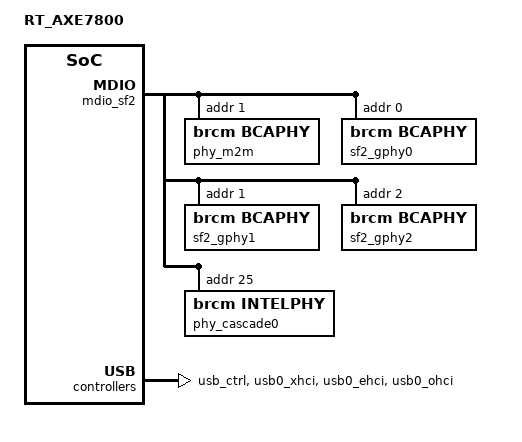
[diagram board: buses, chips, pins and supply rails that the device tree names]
#include "6756.dtsi"
#include "../bcm_voice.dtsi"

/ {
    model = "RT_AXE7800";
	memory_controller {
		memcfg = <(BP_DDR_TYPE_DDR4		| \
			/* CUSTOM speed 1026MHz */
			BP_DDR_SPEED_CUSTOM_1		| \
			BP_DDR_TOTAL_SIZE_512MB		| \
			BP_DDR_DEVICE_WIDTH_16		| \
			BP_DDR_TOTAL_WIDTH_16BIT	| \
			BP_DDR_TEMP_EXTENDED_ASR	| \
			BP_DDR_6756_DEFAULT)>;
	};
#if 0
	buttons {
		compatible = "brcm,buttons";
		reset_button {
			ext_irq = <&bca_extintr 9 BCA_GPIO_ACTIVE_LOW (BCA_EXTINTR_TYPE_LOW_LEVEL | BCA_EXTINTR_TYPE_SENSE_EDGE)>;
			press {
				print = "Button Press -- Hold for 5s to do restore to default";
			};
			hold {
				rst_to_dflt = <5>;
			};
			release {
				reset = <0>;
			};	
		};
		ses_button {
			ext_irq = <&bca_extintr 4 BCA_GPIO_ACTIVE_LOW (BCA_EXTINTR_TYPE_LOW_LEVEL | BCA_EXTINTR_TYPE_SENSE_EDGE)>;
			release {
				ses_short_period = <0>;
				ses_long_period = <3>;
			};
		};
	};
#endif
	switch_sf2_ext:0 {
	};

};

&sysport {
    ethsw_ext = <&switch_sf2_ext>;
};

&mdio_sf2 {
	phy_ge:8 {
		status = "okay";
	};

	phy_m2m:m2m {
		compatible = "brcm,bcaphy";
		phy-type = "MAC2MAC";
		reg = <1>;
		status = "okay";
		phy-extswitch;
	};

	/* PHYs on external SF2 switch */
	sf2_gphy0:0 {
		compatible = "brcm,bcaphy";
		phy-type = "EGPHY";
		reg = <0>;
		status = "okay";
	};
	sf2_gphy1:1 {
		compatible = "brcm,bcaphy";
		phy-type = "EGPHY";
		reg = <1>;
		status = "okay";
	};
	sf2_gphy2:2 {
		compatible = "brcm,bcaphy";
		phy-type = "EGPHY";
		reg = <2>;
		status = "okay";
	};

	phy_cascade0:cascade0 {
		compatible = "brcm,intelphy";
		phy-type = "GPY211";
		reg = <25>;
		status = "okay";
		phy-external;
	};
	phy_serdes0:serdes0 {
		phy-handle = <&phy_cascade0>;
		status = "okay";
	};
};

&switch_sf2_ext {				/* linux/uboot: external sf2 */
	unit = <1>;
	sw-type = "SF2_SW";

	compatible = "brcm,bcmbca-extsw";
	reg-names ="parent-rgmii-ctrl",
	           "parent-gpio-pad-ctrl";
	reg = <0x804800ec 0x44>,
	      <0xff800500 0x78>;
	switch-reset = <&gpioc 10 GPIO_ACTIVE_LOW>;

	ports {
		#address-cells = <1>;
		#size-cells = <0>;

		sf2_port0@0 {
			phy-handle = <&sf2_gphy0>;
			reg = <0>;
			mac-type = "SF2MAC";
			phy-mode = "gmii";
			gmii-direct;
			status = "okay";
		};
		sf2_port1@1 {
			phy-handle = <&sf2_gphy1>;
			reg = <1>;
			mac-type = "SF2MAC";
			phy-mode = "gmii";
			gmii-direct;
			status = "okay";
		};
		sf2_port2@2 {
			phy-handle = <&sf2_gphy2>;
			reg = <2>;
			mac-type = "SF2MAC";
			phy-mode = "gmii";
			gmii-direct;
			status = "okay";
		};
		sf2_port8@8 {
			management;		/* sf2_ext.p8 <--> root.p1 */
			reg = <8>;
			mac-type = "SF2MAC";
			shrink-ipg;
			phy-mode = "gmii";
			gmii-direct;
			status = "okay";
		};
	};
};

&switch0 {					/* linux/uboot: internal sf2 */
	pinctrl-names = "default", "rgmii"; 
	pinctrl-0 = <&a_rgmii_mdc_pin_68 &a_rgmii_mdio_pin_69 &rgmii_pins>; 
	pinctrl-1 = <&rgmii_pins>; 

	ports {
		port0@0 {
			phy-handle = <&phy_ge>;
			status = "okay";
			network-leds = <&led0>;
			label = "eth1";
		};
		port1@1 {
			phy-handle = <&phy_m2m>;
			mii-pinctrl-state = "rgmii";
			phy-mode = "rgmii";
			rgmii-3p3v;
			rx-delay;
			tx-delay;
			link = <&switch_sf2_ext>;	/* root.p1 <--> sf2_ext.p8 */
			shrink-ipg;
			status = "okay";
		};
		port5@5 {
			phy-handle = <&phy_serdes0>;
			status = "okay";
			label = "eth0";
		};
	};
};

&usb_ctrl {
	pinctrl-names="default";
	pinctrl-0 = <&usb0_pwr_pins>;
	pwron-bias-pull-up;
	status = "okay";
	xhci-enable;
};

&usb0_xhci {
	status = "okay";
};

&usb0_ehci {
	status = "okay";
};

&usb0_ohci {
	status = "okay";
};

&legacy_leds {
	wl0-led = <&led5>;
	wl1-led = <&led4>;
};

&led_ctrl {
	/* P4_LINKACT */
	led0:port_0-led-1 {
		active_low;
		link = <LED_SPEED_GBE>;
		activity = <LED_SPEED_GBE>;
		pinctrl-0=<&a_per_led_03_pin_3>;
		status = "okay";
	};

	/* P4_LINKACT_GPIO */
	led1:led_gpio_3 {
		compatible = "brcm,gpio-led";
		software_led;
		pin = <3>;
		active_low;
	};

	/* P4_LINKACT_R */
	led2:led_gpio_5 {
		compatible = "brcm,gpio-led";
		software_led;
		pin = <5>;
		active_low;
	};

	/* P5_LINKACT_R */
	led3:led_gpio_31 {
		compatible = "brcm,gpio-led";
		software_led;
		pin = <31>;
		active_low;
		init_high;
	};

	/* WLAN_6G_ACT */
	led4:led_gpio_7 {
		compatible = "brcm,gpio-led";
		software_led;
		pin = <7>;
		active_high;
		init_low;
	};

	/* WLAN_2G_ACT */
	led5:led_gpio_36 {
		compatible = "brcm,gpio-led";
		software_led;
		pin = <36>;
		active_high;
		init_low;
	};

	/* GPIO_29: POWER */
	led6:led_gpio_29 {
		compatible = "brcm,gpio-led";
		software_led;
		pin = <29>;
		active_low;
		init_high;
	};
};

/* For spi slave */
&pincontroller {
	pinctrl-names = "default";
	pinctrl-0 = <&spis_clk_pin_18 &spis_ss_b_pin_19 &spis_miso_pin_20 &spis_mosi_pin_21>;
};
